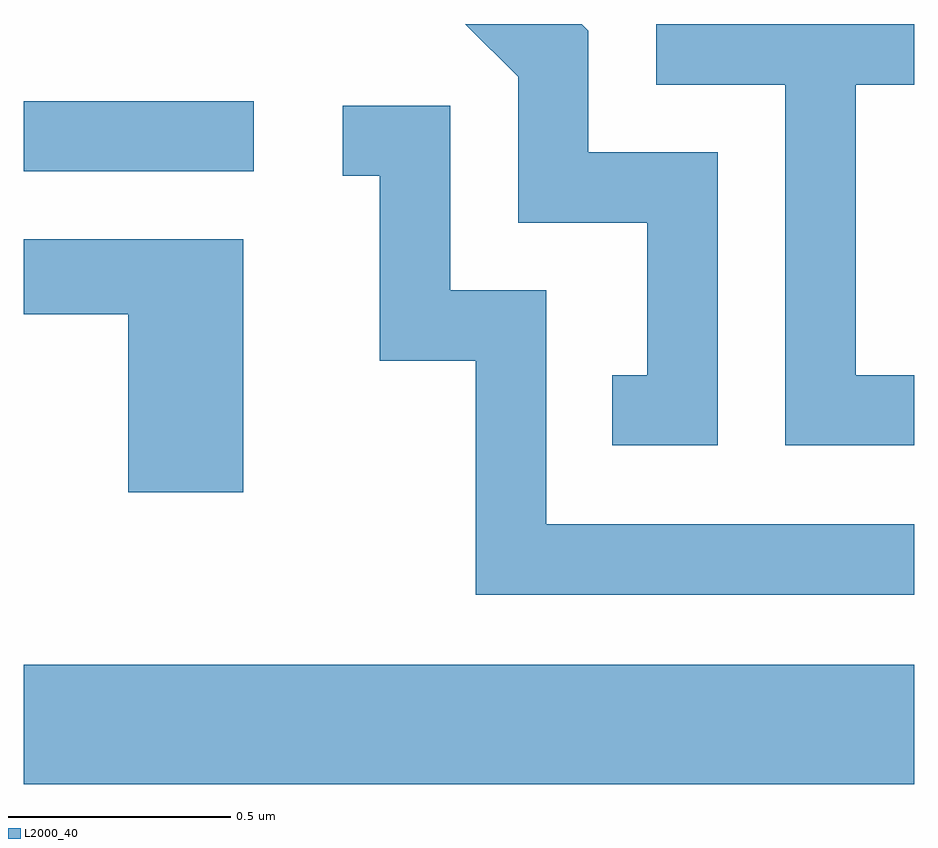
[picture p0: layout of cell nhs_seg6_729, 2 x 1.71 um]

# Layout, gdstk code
import gdstk
lib = gdstk.Library(unit=1e-6, precision=1e-09)
def R(c, l, rs):  # rectangles x0, y0, x1, y1
    for r in rs: c.add(gdstk.rectangle(r[:2], r[2:], *l))
def P(c, l, *ps):  # polygons
    for p in ps: c.add(gdstk.Polygon(p, *l))
L2000_40 = (2000, 40)

nhs_seg6_729 = lib.new_cell('nhs_seg6_729')
R(nhs_seg6_729, L2000_40, [(190.611,1574.456,192.611,1574.724), (190.611,1575.831,191.128,1575.989)])
P(nhs_seg6_729, L2000_40, [(192.169,1575.874),(191.879,1575.874),(191.879,1576.147),(191.864,1576.162),(191.603,1576.162),(191.721,1576.044),(191.721,1575.716),(192.011,1575.716),(192.011,1575.374),(191.933,1575.374),(191.933,1575.216),(192.169,1575.216)],
  [(192.611,1575.374),(192.479,1575.374),(192.479,1576.026),(192.611,1576.026),(192.611,1576.162),(192.031,1576.162),(192.031,1576.026),(192.321,1576.026),(192.321,1575.216),(192.611,1575.216)],
  [(192.611,1575.039),(191.784,1575.039),(191.784,1575.564),(191.569,1575.564),(191.569,1575.979),(191.328,1575.979),(191.328,1575.821),(191.411,1575.821),(191.411,1575.406),(191.626,1575.406),(191.626,1574.881),(192.611,1574.881)],
  [(191.104,1575.679),(190.611,1575.679),(190.611,1575.511),(190.846,1575.511),(190.846,1575.111),(191.104,1575.111)])

lib.write_gds('nhs_seg6_729.gds')
